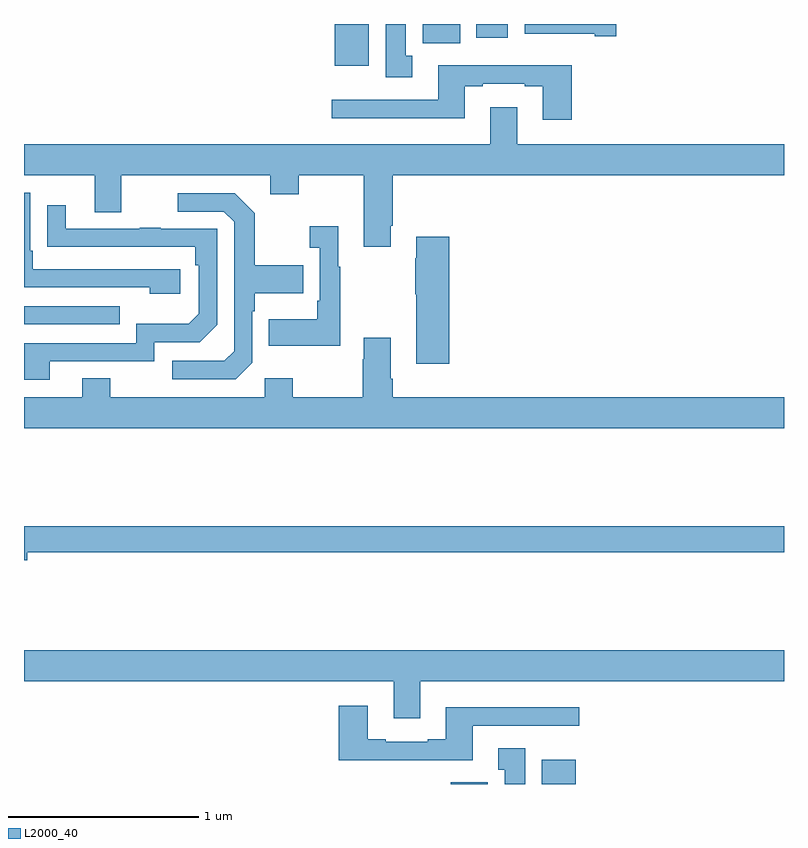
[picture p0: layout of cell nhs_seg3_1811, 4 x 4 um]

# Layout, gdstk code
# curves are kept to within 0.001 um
import gdstk
lib = gdstk.Library(unit=1e-6, precision=1e-09)
def R(c, l, rs):  # rectangles x0, y0, x1, y1
    for r in rs: c.add(gdstk.rectangle(r[:2], r[2:], *l))
def P(c, l, *ps):  # polygons
    for p in ps: c.add(gdstk.Polygon(p, *l))
L2000_40 = (2000, 40)

nhs_seg3_1811 = lib.new_cell('nhs_seg3_1811')
R(nhs_seg3_1811, L2000_40, [(207.245,676.4,207.442,676.408), (207.725,676.4,207.904,676.528), (205,678.819,205.505,678.915), (206.636,680.18,206.815,680.4), (207.098,680.3,207.295,680.4), (207.38,680.328,207.547,680.4)])
P(nhs_seg3_1811, L2000_40, [(208.117,680.4),(207.635,680.4),(207.635,680.348),(208.004,680.348),(208.004,680.336),(208.117,680.336)],
  [(207.043,680.234),(207.01,680.234),(207.01,680.4),(206.903,680.4),(206.903,680.121),(207.043,680.121)],
  [(207.884,680.182),(207.179,680.182),(207.179,680.001),(206.619,680.001),(206.619,679.904),(207.319,679.904),(207.319,680.073),(207.415,680.073),(207.415,680.085),(207.635,680.085),(207.635,680.073),(207.731,680.073),(207.731,679.896),(207.884,679.896)],
  [(206.929,679.339),(206.942,679.339),(206.942,679.604),(209,679.604),(209,679.768),(207.595,679.768),(207.595,679.963),(207.455,679.963),(207.455,679.768),(205,679.768),(205,679.604),(205.373,679.604),(205.373,679.41),(205.513,679.41),(205.513,679.604),(206.297,679.604),(206.297,679.505),(206.445,679.505),(206.445,679.604),(206.789,679.604),(206.789,679.227),(206.929,679.227)],
  [(205.822,679.11),(205.045,679.11),(205.045,679.207),(205.032,679.207),(205.032,679.512),(205,679.512),(205,679.014),(205.661,679.014),(205.661,678.98),(205.822,678.98)],
  [(206.202,678.618),(206.202,678.887),(206.215,678.887),(206.215,678.983),(206.471,678.983),(206.471,679.131),(206.215,679.131),(206.215,679.403),(206.109,679.509),(205.809,679.509),(205.809,679.413),(206.052,679.413),(206.106,679.359),(206.106,678.678),(206.055,678.627),(205.779,678.627),(205.779,678.531),(206.115,678.531)],
  [(205.135,678.624),(205.686,678.624),(205.686,678.726),(205.926,678.726),(206.016,678.816),(206.016,679.323),(205.721,679.323),(205.721,679.328),(205.609,679.328),(205.609,679.323),(205.219,679.323),(205.219,679.447),(205.123,679.447),(205.123,679.228),(205.9,679.227),(205.9,679.13),(205.92,679.13),(205.92,678.876),(205.867,678.823),(205.59,678.823),(205.59,678.72),(205,678.72),(205,678.528),(205.135,678.528)],
  [(206.665,679.123),(206.653,679.123),(206.653,679.336),(206.505,679.336),(206.505,679.223),(206.556,679.223),(206.556,678.943),(206.544,678.943),(206.544,678.847),(206.287,678.847),(206.287,678.707),(206.665,678.707)],
  [(207.238,679.279),(207.065,679.279),(207.065,679.166),(207.058,679.166),(207.058,678.977),(207.065,678.977),(207.065,678.612),(207.238,678.612)],
  [(206.929,678.532),(206.929,678.748),(206.789,678.748),(206.789,678.635),(206.782,678.635),(206.782,678.436),(206.415,678.436),(206.415,678.535),(206.268,678.535),(206.268,678.436),(205.455,678.436),(205.455,678.535),(205.307,678.535),(205.307,678.436),(205,678.436),(205,678.272),(209,678.272),(209,678.436),(206.942,678.436),(206.942,678.532)],
  [(205.018,677.62),(209,677.62),(209,677.756),(205,677.756),(205,677.578),(205.018,677.578)],
  [(207.085,676.94),(209,676.94),(209,677.104),(205,677.104),(205,676.94),(206.945,676.94),(206.945,676.746),(207.085,676.746)],
  [(207.361,676.707),(207.922,676.707),(207.922,676.804),(207.221,676.804),(207.221,676.636),(207.125,676.636),(207.125,676.623),(206.905,676.623),(206.905,676.636),(206.809,676.636),(206.809,676.813),(206.657,676.813),(206.657,676.526),(207.361,676.526)],
  [(207.637,676.588),(207.497,676.588),(207.497,676.475),(207.53,676.475),(207.53,676.4),(207.637,676.4)])

lib.write_gds('nhs_seg3_1811.gds')
